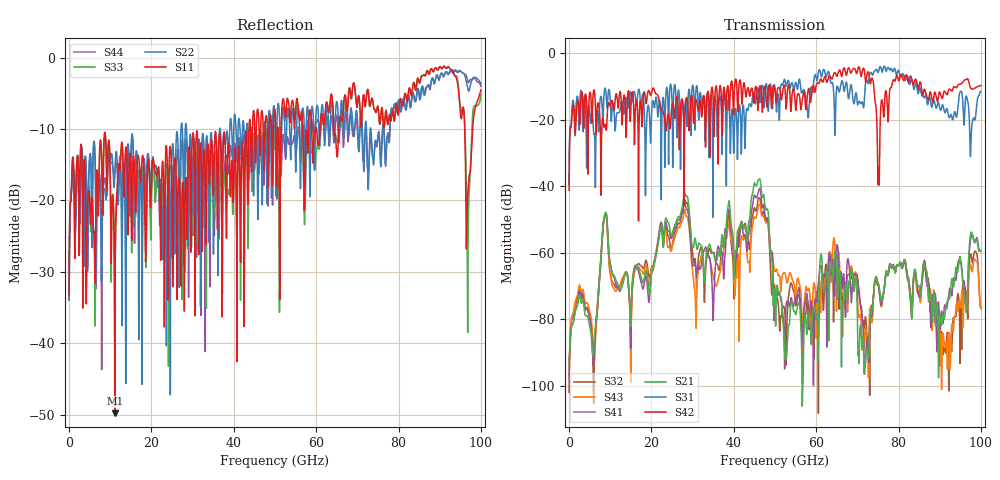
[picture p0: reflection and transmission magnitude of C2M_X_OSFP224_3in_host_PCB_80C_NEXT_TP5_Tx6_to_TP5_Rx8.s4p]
# GHz S RI R 45
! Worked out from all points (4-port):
!   4000 points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, 25 MHz to 100 GHz, reference 45 ohm
!   strongest paths, dB at 25 MHz, 25.02 GHz, 50.02 GHz, 75.03 GHz, 100 GHz:
!     S42: -41.3, -15.6, -11.3, -39.6, -9.8
!     S31: -39.7, -15.6, -10.6, -5.9, -11.5
!     S21: -92.4, -54.5, -74.3, -69.2, -59.6
!     S41: -97.6, -55.0, -75.5, -69.5, -59.5
!     S43: -98.1, -58.5, -65.7, -69.6, -76.4
!     S32: -102.0, -57.8, -71.1, -69.3, -76.7
!   lowest |S11| = -49.8 dB at 11.1 GHz (marker M1), VSWR 1.01, Z = 44.9 + j0.285 ohm
!   |S11| at or under -10 dB: start of sweep to 43.7 GHz; 56.74 GHz to 58.18 GHz (1.445 GHz wide, 2.51 % of centre); 96.08 GHz to 98 GHz (1.925 GHz wide, 1.98 % of centre)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
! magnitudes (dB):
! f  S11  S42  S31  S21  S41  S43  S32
! 25 MHz  -33.1  -41.3  -39.7  -92.4  -97.6  -98.1  -102.0
! 6.4 GHz  -27.8  -15.8  -40.4  -82.2  -83.7  -86.2  -84.0
! 8.725 GHz  -10.5  -21.5  -10.6  -48.3  -48.8  -49.0  -48.6
! 11.1 GHz  -49.8  -15.5  -21.6  -67.3  -68.1  -71.2  -69.9
! 46.15 GHz  -10.1  -11.7  -12.3  -38.0  -41.2  -45.7  -43.6
! 52.38 GHz  -7.2  -10.1  -8.0  -88.8  -92.6  -66.1  -77.6
! 100 GHz  -4.5  -9.8  -11.5  -59.6  -59.5  -76.4  -76.7
